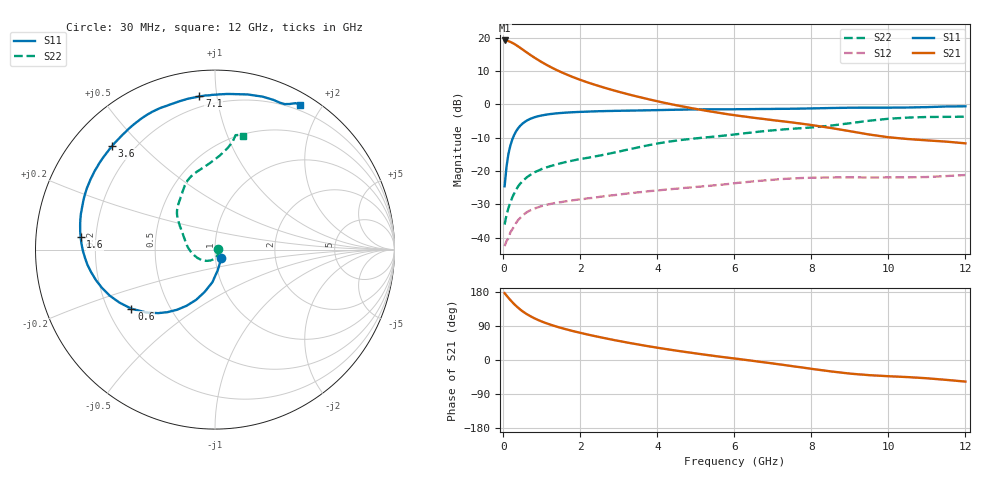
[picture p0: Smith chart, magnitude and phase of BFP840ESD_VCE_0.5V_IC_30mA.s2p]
! Infineon Technologies  Discrete & RF Semiconductors
! BFP840ESD
! VCE =  0.5 V,  IC =  30 mA
! Common Emitter S-Parameters:  May 2012
# GHz  S  MA  R  50
!  f  S11  S21  S12  S22
! GHz  MAG  ANG  MAG  ANG  MAG  ANG  MAG  ANG
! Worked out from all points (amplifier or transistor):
!   93 points, 30 MHz to 12 GHz, reference 50 ohm
!   highest |S21| = 19.2 dB at 30 MHz (marker M1)
!   |S21| within 3 dB of that: start of sweep to 532.7 MHz
!   unconditionally stable (mu >= 1): start of sweep to end of sweep
!   at 1.1 GHz: K = 2.10, MAG = 15.1 dB, |S12| = -30.1 dB
!   at 4.2 GHz: K = 2.86, MAG = 5.6 dB, |S12| = -25.6 dB
!   at 12 GHz: K = 2.03, MAG = -1.0 dB, |S12| = -21.2 dB
!   S11 on the Smith chart (normalised r, x): 30 MHz: 1.07, -0.10; 600 MHz: 0.30, -0.29; 1.6 GHz: 0.14, +0.04; 3.6 GHz: 0.12, +0.41; 7.1 GHz: 0.14, +0.89; 12 GHz: 0.13, +1.74
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0.03  0.0593 -53.1  9.096 176.6  0.0075 11.6  0.0158 12.6
0.08  0.117 -82.7  9.067 170.1  0.009 25.2  0.0221 -25.1
0.13  0.1825 -94.6  8.896 164.0  0.0098 33.7  0.028 -50.1
0.23  0.2991 -110.6  8.382 152.6  0.0134 38.4  0.0405 -78.2
0.28  0.3505 -116.8  8.076 147.4  0.0149 40.5  0.0464 -88.3
0.33  0.3968 -122.3  7.746 142.5  0.0168 41.0  0.0526 -97.2
0.43  0.4748 -131.8  7.086 133.7  0.0197 41.2  0.0644 -111.1
0.5  0.5193 -137.6  6.641 128.2  0.0216 40.4  0.071 -119.2
0.6  0.5702 -144.7  6.043 121.4  0.0241 39.1  0.0802 -128.6
0.8  0.6404 -156.4  5.052 110.3  0.0274 35.4  0.0958 -143.3
1  0.6848 -165.6  4.288 101.4  0.03 32.9  0.1079 -154.4
1.3  0.7259 -176.4  3.457 90.7  0.0329 30.5  0.1223 -166.8
1.6  0.7517 174.8  2.877 81.8  0.0352 29.2  0.1361 -175.7
2.1  0.7764 162.7  2.223 69.2  0.0383 27.4  0.155 172.9
2.8  0.7979 148.7  1.662 54.2  0.0432 25.7  0.1855 158.6
3.6  0.8133 134.8  1.262 39.2  0.0486 22.9  0.2337 146.5
4.1  0.8236 127.2  1.082 30.8  0.052 21.2  0.2654 141.0
6.1  0.8469 106.0  0.677 2.8  0.0668 13.2  0.36 121.1
7.1  0.8582 95.8  0.572 -10.6  0.0751 5.5  0.4141 111.8
8.5  0.8833 78.1  0.444 -30.0  0.0804 -6.9  0.4805 93.8
10.5  0.8989 64.4  0.303 -45.1  0.0807 -18.5  0.6345 80.1
12  0.9371 59.5  0.261 -57.0  0.0874 -24.5  0.654 76.4
